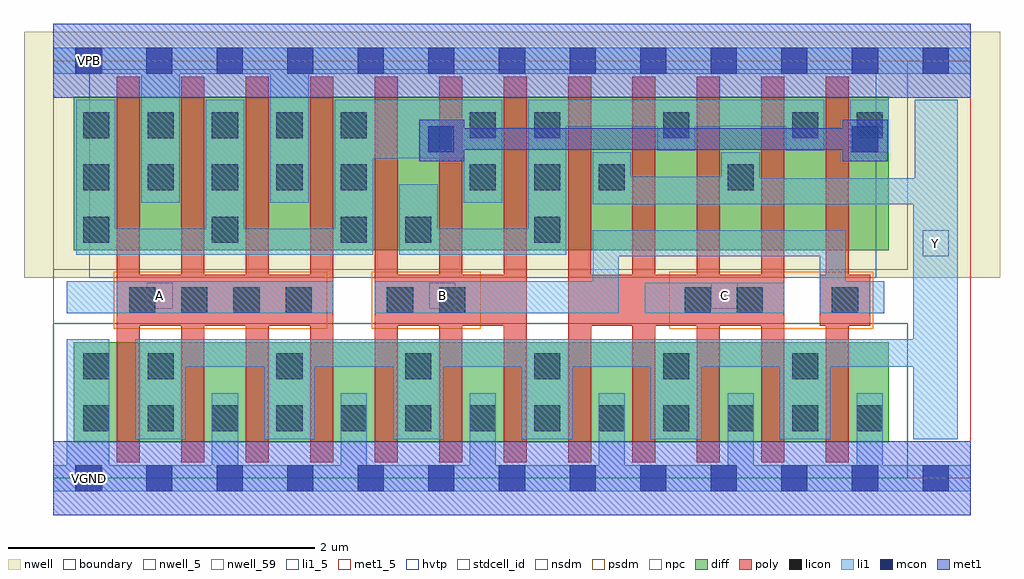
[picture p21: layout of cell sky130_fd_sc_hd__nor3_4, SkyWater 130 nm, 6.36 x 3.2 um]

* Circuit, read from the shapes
.subckt sky130_fd_sc_hd__nor3_4 A B C VGND VNB VPB VPWR Y
XM1 Y A VGND VNB sky130_fd_pr__nfet_01v8 w=0.65 l=0.15 m=4
XM2 Y B VGND VNB sky130_fd_pr__nfet_01v8 w=0.65 l=0.15 m=4
XM3 VGND C Y VNB sky130_fd_pr__nfet_01v8 w=0.65 l=0.15 m=4
XM4 VPWR A n1 VPB sky130_fd_pr__pfet_01v8_hvt w=1 l=0.15 m=4
XM5 n2 B n1 VPB sky130_fd_pr__pfet_01v8_hvt w=1 l=0.15 m=4
XM6 Y C n2 VPB sky130_fd_pr__pfet_01v8_hvt w=1 l=0.15 m=4
.ends

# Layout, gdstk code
import gdstk
lib = gdstk.Library(unit=1e-6, precision=1e-09)
def R(c, l, rs):  # rectangles x0, y0, x1, y1
    for r in rs: c.add(gdstk.rectangle(r[:2], r[2:], *l))
def A(c, l, x, y, w, h, nx, ny, dx, dy):  # array of equal rectangles
    R(c, l, [(x+i*dx, y+j*dy, x+i*dx+w, y+j*dy+h) for i in range(nx) for j in range(ny)])
nwell_5 = (64, 5)
nwell = (64, 20)
nwell_59 = (64, 59)
diff = (65, 20)
poly = (66, 20)
licon = (66, 44)
li1_5 = (67, 5)
li1 = (67, 20)
mcon = (67, 44)
met1_5 = (68, 5)
met1 = (68, 20)
hvtp = (78, 44)
stdcell_id = (81, 4)
nsdm = (93, 44)
psdm = (94, 20)
npc = (95, 20)
boundary = (235, 4)

sky130_fd_sc_hd__nor3_4 = lib.new_cell('sky130_fd_sc_hd__nor3_4')
R(sky130_fd_sc_hd__nor3_4, nwell_5, [(0.15,2.635,0.32,2.805)])
R(sky130_fd_sc_hd__nor3_4, nwell, [(-0.19,1.305,6.17,2.91)])
R(sky130_fd_sc_hd__nor3_4, nwell_59, [(0.15,-0.085,0.32,0.085)])
R(sky130_fd_sc_hd__nor3_4, diff, [(0.135,0.235,5.445,0.885), (0.135,1.485,5.445,2.485)])
A(sky130_fd_sc_hd__nor3_4, poly, 0.415, 0.105, 0.15, 0.89, 12, 1, 0.42, 0)
A(sky130_fd_sc_hd__nor3_4, poly, 0.415, 1.325, 0.15, 1.29, 12, 1, 0.42, 0)
R(sky130_fd_sc_hd__nor3_4, poly, [(0.415,0.995,1.825,1.325), (2.095,0.995,3.085,1.325), (3.355,0.995,4.765,1.325), (4.995,0.995,5.325,1.325)])
A(sky130_fd_sc_hd__nor3_4, licon, 0.195, 0.305, 0.17, 0.17, 13, 1, 0.42, 0)
A(sky130_fd_sc_hd__nor3_4, licon, 0.615, 0.645, 0.17, 0.17, 6, 1, 0.84, 0)
A(sky130_fd_sc_hd__nor3_4, licon, 0.495, 1.075, 0.17, 0.17, 4, 1, 0.34, 0)
A(sky130_fd_sc_hd__nor3_4, licon, 0.195, 1.535, 0.17, 0.17, 3, 1, 0.84, 0)
A(sky130_fd_sc_hd__nor3_4, licon, 0.195, 1.875, 0.17, 0.17, 5, 2, 0.42, 0.34)
A(sky130_fd_sc_hd__nor3_4, licon, 2.715, 1.875, 0.17, 0.17, 3, 1, 0.42, 0)
A(sky130_fd_sc_hd__nor3_4, licon, 3.135, 2.215, 0.17, 0.17, 3, 1, 0.84, 0)
R(sky130_fd_sc_hd__nor3_4, licon, [(0.195,0.645,0.365,0.815), (2.175,1.075,2.345,1.245), (2.515,1.075,2.685,1.245), (4.115,1.075,4.285,1.245), (4.455,1.075,4.625,1.245), (5.075,1.075,5.245,1.245), (2.295,1.535,2.465,1.705), (3.135,1.535,3.305,1.705), (4.395,1.875,4.565,2.045), (2.715,2.215,2.885,2.385), (5.235,2.215,5.405,2.385)])
A(sky130_fd_sc_hd__nor3_4, li1_5, 0.61, 1.105, 0.17, 0.17, 3, 1, 1.84, 0)
R(sky130_fd_sc_hd__nor3_4, li1_5, [(5.665,1.445,5.835,1.615)])
A(sky130_fd_sc_hd__nor3_4, li1, 1.035, 0.085, 0.17, 0.47, 6, 1, 0.84, 0)
A(sky130_fd_sc_hd__nor3_4, li1, 0.535, 0.255, 0.33, 0.47, 6, 1, 0.84, 0)
R(sky130_fd_sc_hd__nor3_4, li1, [(0,-0.085,5.98,0.085), (0.09,0.085,0.365,0.905), (5.605,0.255,5.895,0.725), (0.535,0.725,5.895,0.905), (5.605,0.905,5.895,1.785), (0.09,1.075,1.825,1.285), (2.095,1.075,3.685,1.285), (3.855,1.075,4.765,1.275), (4.995,1.075,5.415,1.285), (3.515,1.285,3.685,1.445), (4.995,1.285,5.165,1.445), (3.515,1.445,5.165,1.615), (0.15,1.455,2.085,1.625), (2.255,1.455,3.345,1.625), (0.15,1.625,0.405,2.465), (0.995,1.625,1.245,2.465), (1.835,1.625,2.085,2.085), (2.255,1.625,2.505,1.915), (3.095,1.625,3.345,2.295), (3.515,1.785,5.895,1.955), (0.575,1.795,0.825,2.635), (1.415,1.795,1.665,2.635), (2.675,1.795,2.925,2.085), (3.515,1.955,4.605,1.965), (5.615,1.955,5.895,2.465), (3.515,1.965,3.765,2.125), (4.355,1.965,4.605,2.125), (1.835,2.085,2.925,2.465), (5.195,2.125,5.445,2.465), (3.935,2.135,4.185,2.295), (4.775,2.135,5.025,2.295), (3.095,2.295,5.025,2.465), (0,2.635,5.98,2.805)])
A(sky130_fd_sc_hd__nor3_4, mcon, 0.145, -0.085, 0.17, 0.17, 13, 2, 0.46, 2.72)
R(sky130_fd_sc_hd__nor3_4, mcon, [(2.445,2.125,2.615,2.295), (5.205,2.125,5.375,2.295)])
R(sky130_fd_sc_hd__nor3_4, met1_5, [(0.15,-0.085,0.32,0.085), (0.15,2.635,0.32,2.805)])
R(sky130_fd_sc_hd__nor3_4, met1, [(0,-0.24,5.98,0.24), (2.385,2.065,2.68,2.14), (5.145,2.065,5.44,2.14), (2.385,2.14,5.44,2.28), (2.385,2.28,2.68,2.335), (5.145,2.28,5.44,2.335), (0,2.48,5.98,2.96)])
R(sky130_fd_sc_hd__nor3_4, hvtp, [(0.235,1.305,5.365,2.665)])
R(sky130_fd_sc_hd__nor3_4, stdcell_id, [(0,0,5.98,2.72)])
R(sky130_fd_sc_hd__nor3_4, nsdm, [(0,0,5.57,1.01)])
R(sky130_fd_sc_hd__nor3_4, psdm, [(0,1.36,5.57,2.72)])
R(sky130_fd_sc_hd__nor3_4, npc, [(0.395,0.975,1.785,1.345), (2.075,0.975,2.785,1.345), (4.015,0.975,5.345,1.345)])
R(sky130_fd_sc_hd__nor3_4, boundary, [(0,0,5.98,2.72)])
sky130_fd_sc_hd__nor3_4.add(gdstk.Label('A', (0.695,1.19), layer=67, texttype=5))
sky130_fd_sc_hd__nor3_4.add(gdstk.Label('B', (2.535,1.19), layer=67, texttype=5))
sky130_fd_sc_hd__nor3_4.add(gdstk.Label('C', (4.375,1.19), layer=67, texttype=5))
sky130_fd_sc_hd__nor3_4.add(gdstk.Label('VGND', (0.235,0), layer=68, texttype=5))
sky130_fd_sc_hd__nor3_4.add(gdstk.Label('VNB', (0.235,0), layer=64, texttype=59))
sky130_fd_sc_hd__nor3_4.add(gdstk.Label('VPB', (0.235,2.72), layer=64, texttype=5))
sky130_fd_sc_hd__nor3_4.add(gdstk.Label('VPWR', (0.235,2.72), layer=68, texttype=5))
sky130_fd_sc_hd__nor3_4.add(gdstk.Label('Y', (5.75,1.53), layer=67, texttype=5))

lib.write_gds('sky130_fd_sc_hd__nor3_4.gds')
